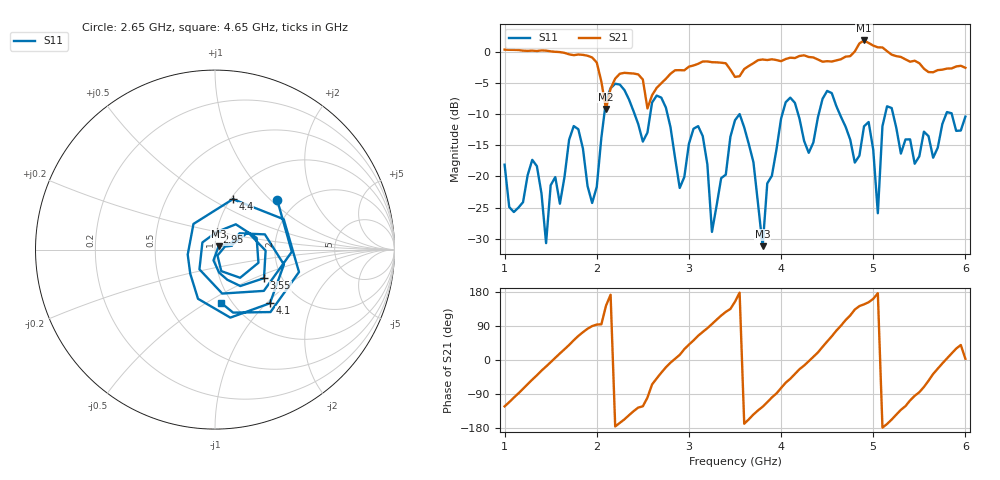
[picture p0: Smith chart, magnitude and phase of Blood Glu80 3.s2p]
! NanoVNA-App
! Date: 2024-03-21 13:23:28
! Start: 1GHz Stop: 6GHz Points: 101
! S-Parameter data: F S11 S21 S12 S22
# Hz S RI R 50
!	Frequency	S11_Real	S11_Imag	S21_Real	S21_Imag	S12_Real	S12_Imag	S22_Real	S22_Imag
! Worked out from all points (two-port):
!   101 points, 1 GHz to 6 GHz, reference 50 ohm
!   highest |S21| = 1.79 dB at 4.9 GHz (marker M1); lowest = -9.2 dB at 2.1 GHz (marker M2)
!   |S21| within 3 dB of the highest: start of sweep to 1.967 GHz; 4.651 GHz to 5.346 GHz (694.3 MHz wide, 13.9 % of centre)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
!   lowest |S11| = -31.2 dB at 3.8 GHz (marker M3), VSWR 1.06, Z = 52 + j1.96 ohm
!   |S11| at or under -10 dB: start of sweep to 2.082 GHz; 2.766 GHz to 4.014 GHz (1.247 GHz wide, 36.8 % of centre); 5.215 GHz to 5.792 GHz (576.5 MHz wide, 10.5 % of centre)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
!   S12 and S22 are empty: the file has one direction only
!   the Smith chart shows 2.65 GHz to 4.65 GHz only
!   S11 on the Smith chart (normalised r, x): 2.65 GHz: 1.59, +1.10; 2.95 GHz: 1.00, +0.20; 3.55 GHz: 1.63, -0.57; 4.1 GHz: 1.43, -1.05; 4.4 GHz: 1.02, +0.63; 4.65 GHz: 0.89, -0.58
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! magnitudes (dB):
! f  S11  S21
! 1 GHz  -18.1  0.3
! 1.35 GHz  -18.3  0.1
! 1.45 GHz  -30.7  0.2
! 1.85 GHz  -15.5  -0.5
! 1.95 GHz  -24.3  -0.9
! 2.1 GHz  -7.9  -9.2
! 2.65 GHz  -7.0  -5.8
! 2.7 GHz  -7.4  -5.1
! 2.95 GHz  -20.1  -3.0
! 3.1 GHz  -11.9  -2.0
! 3.25 GHz  -28.9  -1.7
! 3.5 GHz  -11.0  -4.1
! 3.55 GHz  -10.0  -3.9
! 3.8 GHz  -31.2  -1.3
! 4.1 GHz  -7.4  -1.0
! 4.35 GHz  -14.6  -0.9
! 4.4 GHz  -10.5  -1.3
! 4.65 GHz  -10.5  -1.2
! 4.9 GHz  -12.0  1.8
! 5.05 GHz  -25.9  0.7
! 5.2 GHz  -9.0  -0.5
! 6 GHz  -10.4  -2.6
